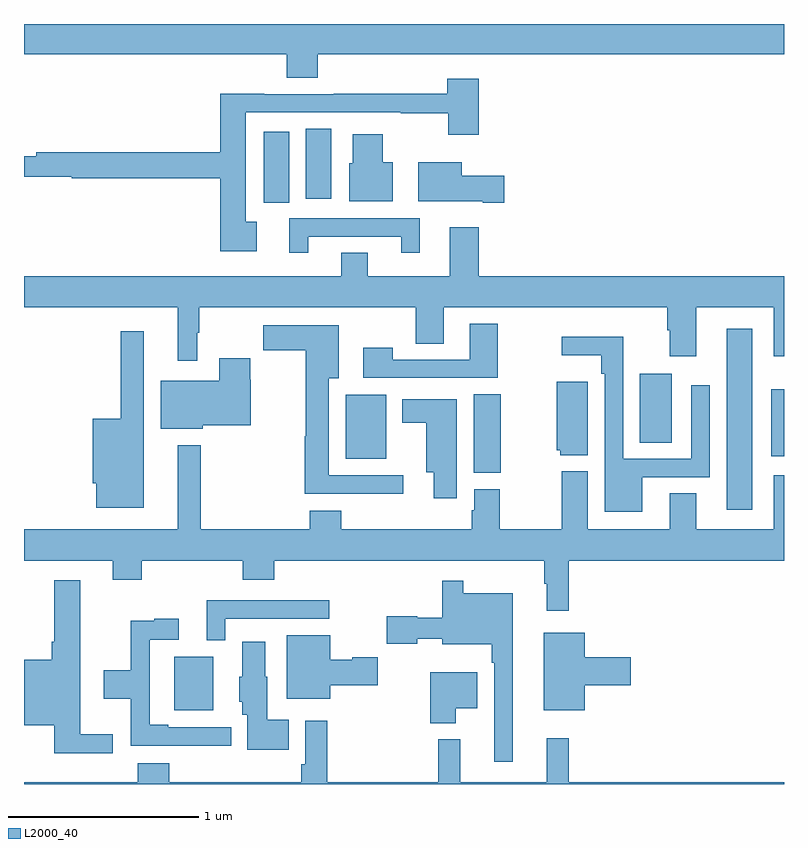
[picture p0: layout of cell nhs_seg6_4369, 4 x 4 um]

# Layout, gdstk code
import gdstk
lib = gdstk.Library(unit=1e-6, precision=1e-09)
def R(c, l, rs):  # rectangles x0, y0, x1, y1
    for r in rs: c.add(gdstk.rectangle(r[:2], r[2:], *l))
def P(c, l, *ps):  # polygons
    for p in ps: c.add(gdstk.Polygon(p, *l))
L2000_40 = (2000, 40)

nhs_seg6_4369 = lib.new_cell('nhs_seg6_4369')
R(nhs_seg6_4369, L2000_40, [(369.791,939.887,369.997,940.171), (372.698,940.944,372.832,941.896), (371.366,941.137,371.508,941.552), (370.694,941.213,370.906,941.548), (372.932,941.226,373,941.578), (372.242,941.296,372.409,941.659), (370.262,942.558,370.396,942.934), (370.484,942.579,370.618,942.95)])
P(nhs_seg6_4369, L2000_40, [(370.547,943.34),(373,943.34),(373,943.5),(369,943.5),(369,943.34),(370.382,943.34),(370.382,943.216),(370.547,943.216)],
  [(370.225,942.458),(370.168,942.458),(370.168,943.035),(370.984,943.035),(370.984,943.03),(371.233,943.03),(371.233,942.918),(371.393,942.918),(371.393,943.213),(371.228,943.213),(371.228,943.133),(370.63,943.133),(370.63,943.131),(370.264,943.131),(370.264,943.133),(370.034,943.133),(370.034,942.824),(369.064,942.824),(369.064,942.805),(369,942.805),(369,942.696),(369.25,942.696),(369.25,942.688),(370.034,942.688),(370.034,942.305),(370.225,942.305)],
  [(370.942,942.772),(370.888,942.772),(370.888,942.919),(370.73,942.919),(370.73,942.768),(370.712,942.768),(370.712,942.566),(370.942,942.566)],
  [(371.527,942.701),(371.305,942.701),(371.305,942.772),(371.075,942.772),(371.075,942.566),(371.414,942.566),(371.414,942.559),(371.527,942.559)],
  [(370.495,942.381),(370.985,942.381),(370.985,942.297),(371.083,942.297),(371.083,942.477),(370.397,942.477),(370.397,942.297),(370.495,942.297)],
  [(369.913,941.876),(369.923,941.876),(369.923,942.008),(371.062,942.008),(371.062,941.818),(371.209,941.818),(371.209,942.008),(372.386,942.008),(372.386,941.888),(372.398,941.888),(372.398,941.751),(372.538,941.751),(372.538,942.008),(372.947,942.008),(372.947,941.751),(373,941.751),(373,942.172),(371.393,942.172),(371.393,942.43),(371.24,942.43),(371.24,942.172),(370.81,942.172),(370.81,942.296),(370.67,942.296),(370.67,942.172),(369,942.172),(369,942.008),(369.809,942.008),(369.809,941.727),(369.913,941.727)],
  [(371.493,941.923),(371.345,941.923),(371.345,941.733),(370.941,941.733),(370.941,941.797),(370.785,941.797),(370.785,941.637),(371.493,941.637)],
  [(370.996,941.124),(370.603,941.124),(370.603,941.636),(370.657,941.636),(370.657,941.914),(370.26,941.914),(370.26,941.783),(370.483,941.783),(370.483,941.331),(370.478,941.331),(370.478,941.027),(370.996,941.027)],
  [(369.631,941.884),(369.51,941.884),(369.51,941.422),(369.362,941.422),(369.362,941.082),(369.38,941.082),(369.38,940.955),(369.631,940.955)],
  [(372.253,941.115),(372.609,941.115),(372.609,941.599),(372.513,941.599),(372.513,941.211),(372.153,941.211),(372.153,941.854),(371.829,941.854),(371.829,941.756),(372.037,941.756),(372.037,941.66),(372.057,941.66),(372.057,940.934),(372.253,940.934)],
  [(369.942,941.387),(370.194,941.387),(370.194,941.627),(370.191,941.627),(370.191,941.74),(370.028,941.74),(370.028,941.623),(369.719,941.623),(369.719,941.369),(369.942,941.369)],
  [(371.968,941.617),(371.804,941.617),(371.804,941.256),(371.823,941.256),(371.823,941.231),(371.968,941.231)],
  [(371.278,941.524),(370.991,941.524),(370.991,941.402),(371.117,941.402),(371.117,941.141),(371.156,941.141),(371.156,941.004),(371.278,941.004)],
  [(371.867,940.676),(373,940.676),(373,941.125),(372.947,941.125),(372.947,940.84),(372.538,940.84),(372.538,941.03),(372.398,941.03),(372.398,940.84),(371.968,940.84),(371.968,941.146),(371.83,941.146),(371.83,940.84),(371.505,940.84),(371.505,941.052),(371.369,941.052),(371.369,940.941),(371.357,940.941),(371.357,940.84),(370.67,940.84),(370.67,940.939),(370.505,940.939),(370.505,940.84),(369.931,940.84),(369.931,941.284),(369.809,941.284),(369.809,940.84),(369,940.84),(369,940.676),(369.467,940.676),(369.467,940.574),(369.62,940.574),(369.62,940.676),(370.151,940.676),(370.151,940.574),(370.316,940.574),(370.316,940.676),(371.739,940.676),(371.739,940.553),(371.75,940.553),(371.75,940.413),(371.867,940.413)],
  [(369.466,939.761),(369.295,939.761),(369.295,940.573),(369.158,940.573),(369.158,940.249),(369.146,940.249),(369.146,940.153),(369,940.153),(369,939.809),(369.158,939.809),(369.158,939.662),(369.466,939.662)],
  [(371.572,940.504),(371.311,940.504),(371.311,940.57),(371.201,940.57),(371.201,940.375),(371.07,940.375),(371.07,940.383),(370.908,940.383),(370.908,940.238),(371.07,940.238),(371.07,940.265),(371.201,940.265),(371.201,940.235),(371.463,940.235),(371.463,940.139),(371.475,940.139),(371.475,939.618),(371.572,939.618)],
  [(370.059,940.371),(370.606,940.371),(370.606,940.467),(369.962,940.467),(369.962,940.256),(370.059,940.256)],
  [(370.09,939.798),(369.76,939.798),(369.76,939.811),(369.663,939.811),(369.663,940.26),(369.814,940.26),(369.814,940.369),(369.686,940.369),(369.686,940.358),(369.562,940.358),(369.562,940.098),(369.42,940.098),(369.42,939.95),(369.562,939.95),(369.562,939.702),(369.847,939.702),(369.847,939.701),(370.09,939.701)],
  [(371.95,940.019),(372.193,940.019),(372.193,940.166),(371.95,940.166),(371.95,940.297),(371.735,940.297),(371.735,939.887),(371.95,939.887)],
  [(370.612,940.019),(370.861,940.019),(370.861,940.166),(370.728,940.166),(370.728,940.153),(370.612,940.153),(370.612,940.282),(370.382,940.282),(370.382,939.95),(370.612,939.95)],
  [(370.394,939.838),(370.279,939.838),(370.279,940.065),(370.27,940.065),(370.27,940.249),(370.148,940.249),(370.148,940.065),(370.133,940.065),(370.133,939.933),(370.148,939.933),(370.148,939.864),(370.175,939.864),(370.175,939.68),(370.394,939.68)],
  [(371.272,939.899),(371.386,939.899),(371.386,940.087),(371.138,940.087),(371.138,939.821),(371.272,939.821)],
  [(373,939.508),(371.867,939.508),(371.867,939.742),(371.75,939.742),(371.75,939.508),(371.297,939.508),(371.297,939.736),(371.179,939.736),(371.179,939.508),(370.595,939.508),(370.595,939.832),(370.479,939.832),(370.479,939.604),(370.459,939.604),(370.459,939.508),(369.764,939.508),(369.764,939.61),(369.599,939.61),(369.599,939.508),(369,939.508),(369,939.5),(373,939.5)])

lib.write_gds('nhs_seg6_4369.gds')
